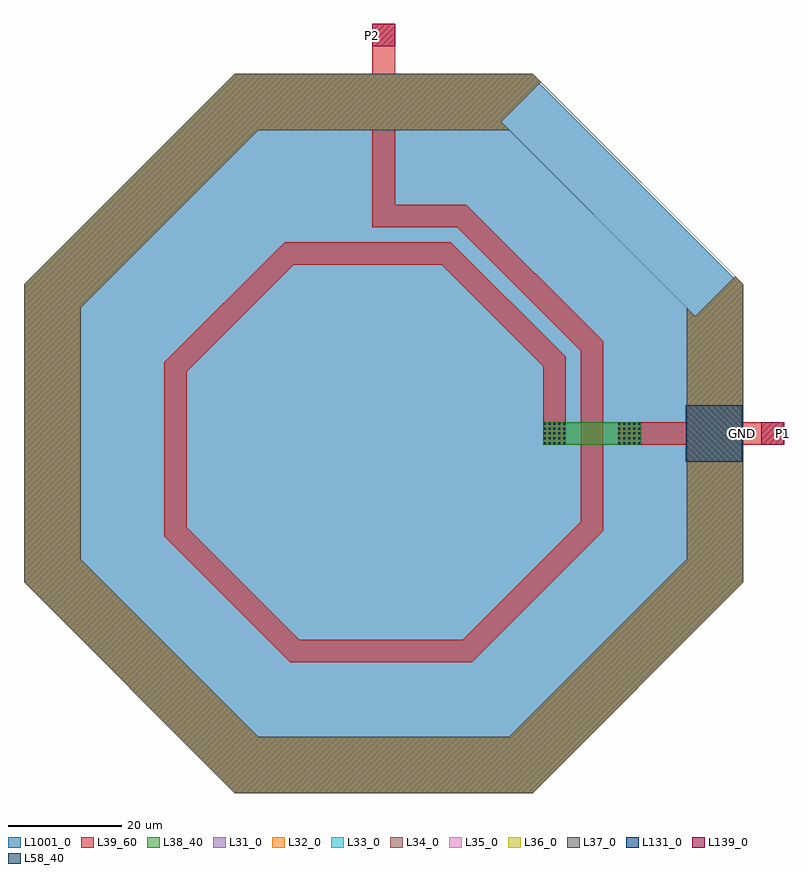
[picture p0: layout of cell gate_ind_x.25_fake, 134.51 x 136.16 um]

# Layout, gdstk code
import gdstk
lib = gdstk.Library(unit=1e-6, precision=1e-09)
def R(c, l, rs):  # rectangles x0, y0, x1, y1
    for r in rs: c.add(gdstk.rectangle(r[:2], r[2:], *l))
def A(c, l, x, y, w, h, nx, ny, dx, dy):  # array of equal rectangles
    R(c, l, [(x+i*dx, y+j*dy, x+i*dx+w, y+j*dy+h) for i in range(nx) for j in range(ny)])
def P(c, l, *ps):  # polygons
    for p in ps: c.add(gdstk.Polygon(p, *l))
L31_0 = (31, 0)
L32_0 = (32, 0)
L33_0 = (33, 0)
L34_0 = (34, 0)
L35_0 = (35, 0)
L36_0 = (36, 0)
L37_0 = (37, 0)
L38_40 = (38, 40)
L39_60 = (39, 60)
L58_40 = (58, 40)
L131_0 = (131, 0)
L139_0 = (139, 0)
L1001_0 = (1001, 0)

gate_ind_x_25_fake = lib.new_cell('gate_ind_x.25_fake')
P(gate_ind_x_25_fake, L31_0, [(55.13,20.764),(62.201,27.835),(26.371,63.665),(-26.371,63.665),(-63.665,26.371),(-63.665,-26.371),(-26.371,-63.665),(26.371,-63.665),(63.665,-26.371),(63.665,26.371),(27.835,62.201),(20.764,55.13),(53.665,22.229),(53.665,-22.229),(22.229,-53.665),(-22.229,-53.665),(-53.665,-22.229),(-53.665,22.229),(-22.229,53.665),(22.229,53.665)])
P(gate_ind_x_25_fake, L32_0, [(55.13,20.764),(62.201,27.835),(26.371,63.665),(-26.371,63.665),(-63.665,26.371),(-63.665,-26.371),(-26.371,-63.665),(26.371,-63.665),(63.665,-26.371),(63.665,26.371),(27.835,62.201),(20.764,55.13),(53.665,22.229),(53.665,-22.229),(22.229,-53.665),(-22.229,-53.665),(-53.665,-22.229),(-53.665,22.229),(-22.229,53.665),(22.229,53.665)])
P(gate_ind_x_25_fake, L33_0, [(55.13,20.764),(62.201,27.835),(26.371,63.665),(-26.371,63.665),(-63.665,26.371),(-63.665,-26.371),(-26.371,-63.665),(26.371,-63.665),(63.665,-26.371),(63.665,26.371),(27.835,62.201),(20.764,55.13),(53.665,22.229),(53.665,-22.229),(22.229,-53.665),(-22.229,-53.665),(-53.665,-22.229),(-53.665,22.229),(-22.229,53.665),(22.229,53.665)])
P(gate_ind_x_25_fake, L34_0, [(55.13,20.764),(62.201,27.835),(26.371,63.665),(-26.371,63.665),(-63.665,26.371),(-63.665,-26.371),(-26.371,-63.665),(26.371,-63.665),(63.665,-26.371),(63.665,26.371),(27.835,62.201),(20.764,55.13),(53.665,22.229),(53.665,-22.229),(22.229,-53.665),(-22.229,-53.665),(-53.665,-22.229),(-53.665,22.229),(-22.229,53.665),(22.229,53.665)])
P(gate_ind_x_25_fake, L35_0, [(55.13,20.764),(62.201,27.835),(26.371,63.665),(-26.371,63.665),(-63.665,26.371),(-63.665,-26.371),(-26.371,-63.665),(26.371,-63.665),(63.665,-26.371),(63.665,26.371),(27.835,62.201),(20.764,55.13),(53.665,22.229),(53.665,-22.229),(22.229,-53.665),(-22.229,-53.665),(-53.665,-22.229),(-53.665,22.229),(-22.229,53.665),(22.229,53.665)])
P(gate_ind_x_25_fake, L36_0, [(55.13,20.764),(62.201,27.835),(26.371,63.665),(-26.371,63.665),(-63.665,26.371),(-63.665,-26.371),(-26.371,-63.665),(26.371,-63.665),(63.665,-26.371),(63.665,26.371),(27.835,62.201),(20.764,55.13),(53.665,22.229),(53.665,-22.229),(22.229,-53.665),(-22.229,-53.665),(-53.665,-22.229),(-53.665,22.229),(-22.229,53.665),(22.229,53.665)])
P(gate_ind_x_25_fake, L37_0, [(55.13,20.764),(62.201,27.835),(26.371,63.665),(-26.371,63.665),(-63.665,26.371),(-63.665,-26.371),(-26.371,-63.665),(26.371,-63.665),(63.665,-26.371),(63.665,26.371),(27.835,62.201),(20.764,55.13),(53.665,22.229),(53.665,-22.229),(22.229,-53.665),(-22.229,-53.665),(-53.665,-22.229),(-53.665,22.229),(-22.229,53.665),(22.229,53.665)])
R(gate_ind_x_25_fake, L38_40, [(28.22,-2,45.47,2)])
P(gate_ind_x_25_fake, L38_40, [(55.13,20.764),(62.201,27.835),(26.371,63.665),(-26.371,63.665),(-63.665,26.371),(-63.665,-26.371),(-26.371,-63.665),(26.371,-63.665),(63.665,-26.371),(63.665,26.371),(27.835,62.201),(20.764,55.13),(53.665,22.229),(53.665,-22.229),(22.229,-53.665),(-22.229,-53.665),(-53.665,-22.229),(-53.665,22.229),(-22.229,53.665),(22.229,53.665)])
R(gate_ind_x_25_fake, L39_60, [(41.47,-2,70.845,2), (-2,36.5,2,72.5)])
P(gate_ind_x_25_fake, L39_60, [(28.22,-2),(32.22,-2),(32.22,13.543),(11.888,33.875),(-17.543,33.875),(-38.845,12.573),(-38.845,-18.228),(-16.573,-40.5),(15.603,-40.5),(38.845,-17.258),(38.845,16.288),(14.633,40.5),(0,40.5),(0,36.5),(12.977,36.5),(34.845,14.632),(34.845,-15.602),(13.947,-36.5),(-14.917,-36.5),(-34.845,-16.572),(-34.845,10.917),(-15.887,29.875),(10.232,29.875),(28.22,11.887)],
  [(55.13,20.764),(62.201,27.835),(26.371,63.665),(-26.371,63.665),(-63.665,26.371),(-63.665,-26.371),(-26.371,-63.665),(26.371,-63.665),(63.665,-26.371),(63.665,26.371),(27.835,62.201),(20.764,55.13),(53.665,22.229),(53.665,-22.229),(22.229,-53.665),(-22.229,-53.665),(-53.665,-22.229),(-53.665,22.229),(-22.229,53.665),(22.229,53.665)])
A(gate_ind_x_25_fake, L58_40, 28.303, -1.915, 0.35, 0.35, 5, 5, 0.87, 0.87)
A(gate_ind_x_25_fake, L58_40, 41.553, -1.915, 0.35, 0.35, 5, 5, 0.87, 0.87)
R(gate_ind_x_25_fake, L131_0, [(53.5,-5,63.5,5)])
R(gate_ind_x_25_fake, L139_0, [(66.845,-2,70.845,2), (-2,68.5,2,72.5)])
P(gate_ind_x_25_fake, L1001_0, [(63.285,26.213),(26.213,63.285),(-26.213,63.285),(-63.285,26.213),(-63.285,-26.213),(-26.213,-63.285),(26.213,-63.285),(63.285,-26.213)],
  [(63.285,26.213),(26.213,63.285),(-26.213,63.285),(-63.285,26.213),(-63.285,-26.213),(-26.213,-63.285),(26.213,-63.285),(63.285,-26.213)],
  [(63.285,26.213),(26.213,63.285),(-26.213,63.285),(-63.285,26.213),(-63.285,-26.213),(-26.213,-63.285),(26.213,-63.285),(63.285,-26.213)],
  [(63.285,26.213),(26.213,63.285),(-26.213,63.285),(-63.285,26.213),(-63.285,-26.213),(-26.213,-63.285),(26.213,-63.285),(63.285,-26.213)],
  [(63.285,26.213),(26.213,63.285),(-26.213,63.285),(-63.285,26.213),(-63.285,-26.213),(-26.213,-63.285),(26.213,-63.285),(63.285,-26.213)],
  [(63.285,26.213),(26.213,63.285),(-26.213,63.285),(-63.285,26.213),(-63.285,-26.213),(-26.213,-63.285),(26.213,-63.285),(63.285,-26.213)],
  [(63.285,26.213),(26.213,63.285),(-26.213,63.285),(-63.285,26.213),(-63.285,-26.213),(-26.213,-63.285),(26.213,-63.285),(63.285,-26.213)],
  [(63.285,26.213),(26.213,63.285),(-26.213,63.285),(-63.285,26.213),(-63.285,-26.213),(-26.213,-63.285),(26.213,-63.285),(63.285,-26.213)],
  [(63.285,26.213),(26.213,63.285),(-26.213,63.285),(-63.285,26.213),(-63.285,-26.213),(-26.213,-63.285),(26.213,-63.285),(63.285,-26.213)])
gate_ind_x_25_fake.add(gdstk.Label('P1', (70.843,0), layer=139, texttype=0))
gate_ind_x_25_fake.add(gdstk.Label('P2', (-2,70.499), layer=139, texttype=0))
gate_ind_x_25_fake.add(gdstk.Label('GND', (63.499,0), layer=131, texttype=0))

lib.write_gds('gate_ind_x.25_fake.gds')
